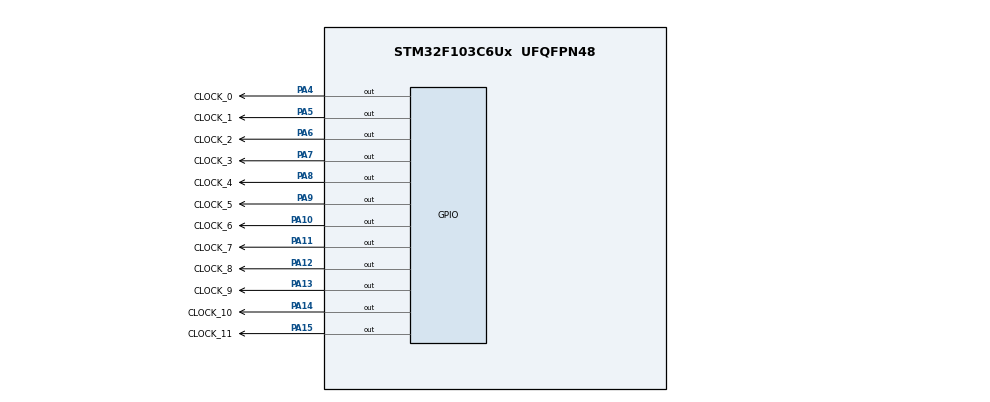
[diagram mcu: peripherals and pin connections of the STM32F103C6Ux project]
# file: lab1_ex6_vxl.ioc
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Mcu.Family=STM32F1
Mcu.Name=STM32F103C6Ux
Mcu.Package=UFQFPN48
NVIC.PriorityGroup=NVIC_PRIORITYGROUP_4
PA10.GPIO_Label=CLOCK_6
PA10.Signal=GPIO_Output
PA11.GPIO_Label=CLOCK_7
PA11.Signal=GPIO_Output
PA12.GPIO_Label=CLOCK_8
PA12.Signal=GPIO_Output
PA13.GPIO_Label=CLOCK_9
PA13.Signal=GPIO_Output
PA14.GPIO_Label=CLOCK_10
PA14.Signal=GPIO_Output
PA15.GPIO_Label=CLOCK_11
PA15.Signal=GPIO_Output
PA4.GPIO_Label=CLOCK_0
PA4.Signal=GPIO_Output
PA5.GPIO_Label=CLOCK_1
PA5.Signal=GPIO_Output
PA6.GPIO_Label=CLOCK_2
PA6.Signal=GPIO_Output
PA7.GPIO_Label=CLOCK_3
PA7.Signal=GPIO_Output
PA8.GPIO_Label=CLOCK_4
PA8.Signal=GPIO_Output
PA9.GPIO_Label=CLOCK_5
PA9.Signal=GPIO_Output
ProjectManager.HeapSize=0x200
ProjectManager.StackSize=0x400
ProjectManager.TargetToolchain=STM32CubeIDE
RCC.APB1Freq_Value=8000000
RCC.APB2Freq_Value=8000000
VP_SYS_VS_ND.Mode=No_Debug
board=custom

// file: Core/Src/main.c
/* USER CODE BEGIN Header */
/**
  ******************************************************************************
  * @file           : main.c
  * @brief          : Exercise 6 - Analog Clock LED Test
  ******************************************************************************
  */
/* USER CODE END Header */

#include "main.h"

void SystemClock_Config(void);
static void MX_GPIO_Init(void);

/* USER CODE BEGIN PFP */

void turnOffAllClockLEDs(void);
void testClockLEDs(void);

/* USER CODE END PFP */

/* USER CODE BEGIN 0 */

/*
 * Turn OFF all 12 LEDs.
 *
 * The circuit is assumed to be active-low:
 *
 * GPIO_PIN_RESET = LED ON
 * GPIO_PIN_SET   = LED OFF
 */
void turnOffAllClockLEDs(void)
{
    HAL_GPIO_WritePin(GPIOA,
                      CLOCK_0_Pin  |
                      CLOCK_1_Pin  |
                      CLOCK_2_Pin  |
                      CLOCK_3_Pin  |
                      CLOCK_4_Pin  |
                      CLOCK_5_Pin  |
                      CLOCK_6_Pin  |
                      CLOCK_7_Pin  |
                      CLOCK_8_Pin  |
                      CLOCK_9_Pin  |
                      CLOCK_10_Pin |
                      CLOCK_11_Pin,
                      GPIO_PIN_SET);
}

/*
 * Test all 12 LEDs one by one.
 *
 * LED sequence:
 *
 * CLOCK_0
 * CLOCK_1
 * CLOCK_2
 * ...
 * CLOCK_11
 */
void testClockLEDs(void)
{
    const uint16_t clockPins[12] =
    {
        CLOCK_0_Pin,
        CLOCK_1_Pin,
        CLOCK_2_Pin,
        CLOCK_3_Pin,
        CLOCK_4_Pin,
        CLOCK_5_Pin,
        CLOCK_6_Pin,
        CLOCK_7_Pin,
        CLOCK_8_Pin,
        CLOCK_9_Pin,
        CLOCK_10_Pin,
        CLOCK_11_Pin
    };

    for (int i = 0; i < 12; i++)
    {
        /*
         * Make sure all LEDs are OFF first.
         */
        turnOffAllClockLEDs();

        /*
         * Turn current LED ON.
         *
         * Active-low:
         * RESET = ON
         */
        HAL_GPIO_WritePin(GPIOA,
                          clockPins[i],
                          GPIO_PIN_RESET);

        /*
         * Keep LED ON for 500 ms.
         */
        HAL_Delay(500);
    }

    /*
     * Turn OFF the last LED
     * before starting the next cycle.
     */
    turnOffAllClockLEDs();

    HAL_Delay(500);
}

/* USER CODE END 0 */

int main(void)
{

    /* MCU Configuration--------------------------------------------------------*/

    /*
     * Reset of all peripherals,
     * Initializes the Flash interface and the Systick.
     */
    HAL_Init();

    /*
     * Configure the system clock
     */
    SystemClock_Config();

    /*
     * Initialize all configured peripherals
     */
    MX_GPIO_Init();

    /* USER CODE BEGIN 2 */

    /*
     * Turn OFF all 12 LEDs
     * before starting the test.
     */
    turnOffAllClockLEDs();

    /* USER CODE END 2 */

    /* Infinite loop */
    /* USER CODE BEGIN WHILE */

    while (1)
    {
        /*
         * Test LEDs from CLOCK_0
         * to CLOCK_11 in sequence.
         */
        testClockLEDs();

        /* USER CODE END WHILE */

    }
}

void SystemClock_Config(void)
{
    RCC_OscInitTypeDef RCC_OscInitStruct = {0};
    RCC_ClkInitTypeDef RCC_ClkInitStruct = {0};

    /**
      * Initializes the RCC Oscillators
      * according to the specified parameters.
      */
    RCC_OscInitStruct.OscillatorType =
            RCC_OSCILLATORTYPE_HSI;

    RCC_OscInitStruct.HSIState =
            RCC_HSI_ON;

    RCC_OscInitStruct.HSICalibrationValue =
            RCC_HSICALIBRATION_DEFAULT;

    RCC_OscInitStruct.PLL.PLLState =
            RCC_PLL_NONE;

    if (HAL_RCC_OscConfig(&RCC_OscInitStruct) != HAL_OK)
    {
        Error_Handler();
    }

    /**
      * Initializes CPU, AHB and APB clocks.
      */
    RCC_ClkInitStruct.ClockType =
            RCC_CLOCKTYPE_HCLK |
            RCC_CLOCKTYPE_SYSCLK |
            RCC_CLOCKTYPE_PCLK1 |
            RCC_CLOCKTYPE_PCLK2;

    RCC_ClkInitStruct.SYSCLKSource =
            RCC_SYSCLKSOURCE_HSI;

    RCC_ClkInitStruct.AHBCLKDivider =
            RCC_SYSCLK_DIV1;

    RCC_ClkInitStruct.APB1CLKDivider =
            RCC_HCLK_DIV1;

    RCC_ClkInitStruct.APB2CLKDivider =
            RCC_HCLK_DIV1;

    if (HAL_RCC_ClockConfig(&RCC_ClkInitStruct,
                            FLASH_LATENCY_0) != HAL_OK)
    {
        Error_Handler();
    }
}

static void MX_GPIO_Init(void)
{
    GPIO_InitTypeDef GPIO_InitStruct = {0};

    /*
     * GPIO Ports Clock Enable
     */
    __HAL_RCC_GPIOA_CLK_ENABLE();

    /*
     * Initial output level:
     *
     * Turn OFF all clock LEDs.
     *
     * Active-low:
     * SET = OFF
     */
    HAL_GPIO_WritePin(GPIOA,
                      CLOCK_0_Pin  |
                      CLOCK_1_Pin  |
                      CLOCK_2_Pin  |
                      CLOCK_3_Pin  |
                      CLOCK_4_Pin  |
                      CLOCK_5_Pin  |
                      CLOCK_6_Pin  |
                      CLOCK_7_Pin  |
                      CLOCK_8_Pin  |
                      CLOCK_9_Pin  |
                      CLOCK_10_Pin |
                      CLOCK_11_Pin,
                      GPIO_PIN_SET);

    /*
     * Configure PA4 -> PA15
     * as GPIO outputs.
     */
    GPIO_InitStruct.Pin =
                      CLOCK_0_Pin  |
                      CLOCK_1_Pin  |
                      CLOCK_2_Pin  |
                      CLOCK_3_Pin  |
                      CLOCK_4_Pin  |
                      CLOCK_5_Pin  |
                      CLOCK_6_Pin  |
                      CLOCK_7_Pin  |
                      CLOCK_8_Pin  |
                      CLOCK_9_Pin  |
                      CLOCK_10_Pin |
                      CLOCK_11_Pin;

    GPIO_InitStruct.Mode =
            GPIO_MODE_OUTPUT_PP;

    GPIO_InitStruct.Pull =
            GPIO_NOPULL;

    GPIO_InitStruct.Speed =
            GPIO_SPEED_FREQ_LOW;

    HAL_GPIO_Init(GPIOA,
                  &GPIO_InitStruct);
}

/**
  * @brief  This function is executed
  *         in case of error occurrence.
  * @retval None
  */
void Error_Handler(void)
{
    __disable_irq();
    while (1)
    {
    }
}

#ifdef USE_FULL_ASSERT

/**
  * @brief Reports the name of the source file
  *        and source line number where
  *        assert_param error occurred.
  *
  * @param file Pointer to source file name
  * @param line Error line number
  * @retval None
  */
void assert_failed(uint8_t *file,
                   uint32_t line)
{
    /* USER CODE BEGIN 6 */

    /* User can add implementation here */

    /* USER CODE END 6 */
}

#endif /* USE_FULL_ASSERT */
